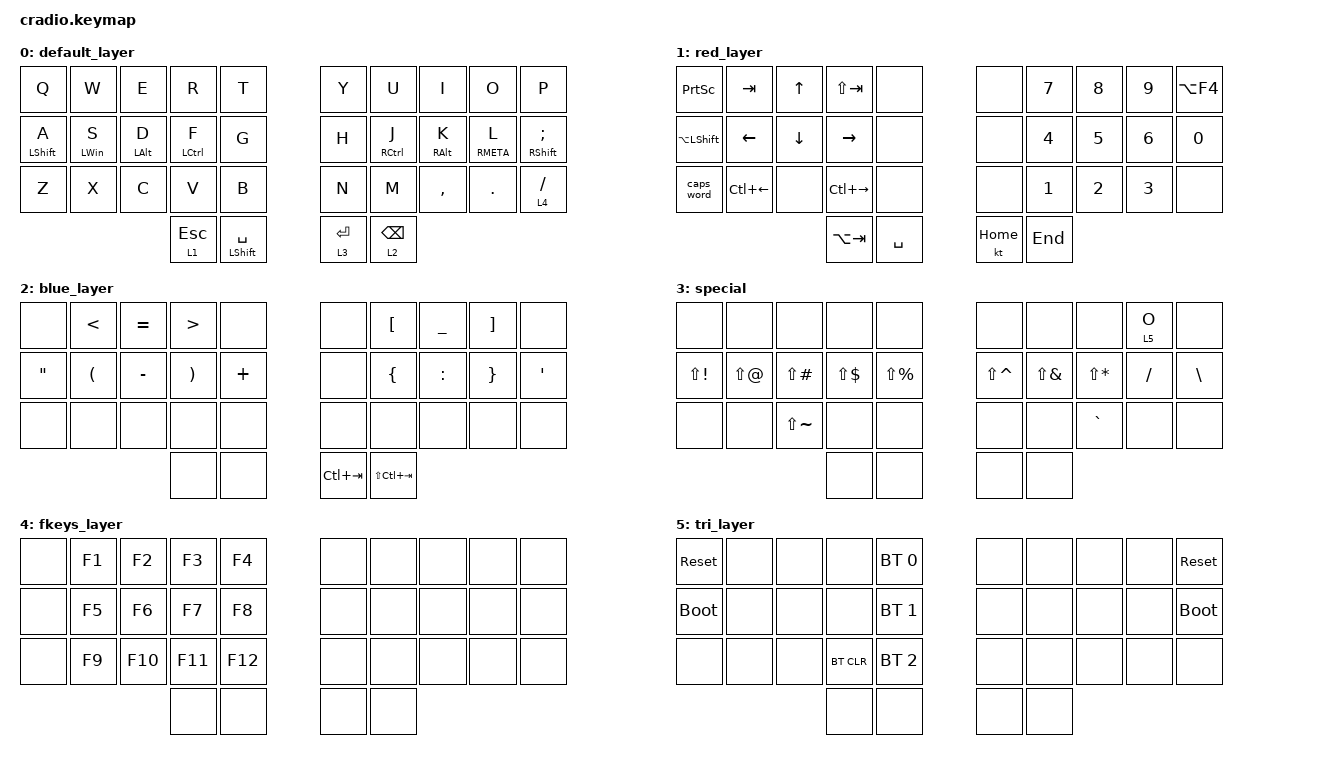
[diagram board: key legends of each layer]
// Copyright (c) 2022 The ZMK Contributors
// SPDX-License-Identifier: MIT

#include <behaviors.dtsi>
#include <dt-bindings/zmk/bt.h>
#include <dt-bindings/zmk/keys.h>

&lt {
    tapping-term-ms = <120>;
    quick-tap-ms = <160>;
    flavor = "balanced";
    require-prior-idle-ms = <80>;
};

/ {
    behaviors {
        hrm: hrm {
            compatible = "zmk,behavior-hold-tap";
            #binding-cells = <2>;
            flavor = "balanced";
            tapping-term-ms = <120>;
            quick-tap-ms = <160>;
            bindings = <&kp>, <&kp>;

            require-prior-idle-ms = <80>;
        };
    };

    conditional_layers { compatible = "zmk,conditional-layers"; };

    keymap {
        compatible = "zmk,keymap";

        default_layer {
            bindings = <
&kp Q          &kp W            &kp E            &kp R         &kp T                &kp Y        &kp U            &kp I             &kp O         &kp P
&hrm LSHIFT A  &hrm LEFT_WIN S  &hrm LEFT_ALT D  &hrm LCTRL F  &kp G                &kp H        &hrm RCTRL J     &hrm RIGHT_ALT K  &hrm RMETA L  &hrm RSHIFT SEMICOLON
&kp Z          &kp X            &kp C            &kp V         &kp B                &kp N        &kp M            &kp COMMA         &kp DOT       &lt 4 SLASH
                                                 &lt 1 ESCAPE  &hrm LSHIFT SPACE    &lt 3 ENTER  &lt 2 BACKSPACE
            >;
        };

        red_layer {
            bindings = <
&kp PRINTSCREEN  &kp TAB       &kp UP_ARROW  &kp LS(TAB)    &none        &none     &kp N7        &kp N8        &kp N9        &kp LA(F4)
&kp LA(LSHIFT)   &kp LEFT      &kp DOWN      &kp RIGHT      &none        &none     &kp NUMBER_4  &kp N5        &kp NUMBER_6  &kp NUMBER_0
&caps_word       &kp LC(LEFT)  &none         &kp LC(RIGHT)  &none        &none     &kp N1        &kp NUMBER_2  &kp NUMBER_3  &none
                                             &kp LA(TAB)    &kp SPACE    &kt HOME  &kp END
            >;
        };

        blue_layer {
            bindings = <
&none              &kp LESS_THAN         &kp EQUAL  &kp GREATER_THAN       &none       &none        &kp LEFT_BRACKET  &kp UNDERSCORE  &kp RBKT         &none
&kp DOUBLE_QUOTES  &kp LEFT_PARENTHESIS  &kp MINUS  &kp RIGHT_PARENTHESIS  &kp PLUS    &none        &kp LEFT_BRACE    &kp COLON       &kp RIGHT_BRACE  &kp SQT
&none              &none                 &none      &none                  &none       &none        &none             &none           &none            &none
                                                    &none                  &none       &kp LC(TAB)  &kp LS(LC(TAB))
            >;
        };

        special {
            bindings = <
&none         &none       &none          &none         &none            &none          &none         &none         &lt 5 O   &none
&kp LS(EXCL)  &kp LS(AT)  &kp LS(POUND)  &kp LS(DLLR)  &kp LS(PRCNT)    &kp LS(CARET)  &kp LS(AMPS)  &kp LS(STAR)  &kp FSLH  &kp BSLH
&none         &none       &kp LS(TILDE)  &none         &none            &none          &none         &kp GRAVE     &none     &none
                                         &none         &none            &none          &none
            >;
        };

        fkeys_layer {
            bindings = <
&none  &kp F1  &kp F2   &kp F3   &kp F4     &none  &none  &none  &none  &none
&none  &kp F5  &kp F6   &kp F7   &kp F8     &none  &none  &none  &none  &none
&none  &kp F9  &kp F10  &kp F11  &kp F12    &none  &none  &none  &none  &none
                        &none    &none      &none  &none
            >;
        };

        tri_layer {
            bindings = <
&sys_reset   &none  &none  &none       &bt BT_SEL 0    &none  &none  &none  &none  &sys_reset
&bootloader  &none  &none  &none       &bt BT_SEL 1    &none  &none  &none  &none  &bootloader
&none        &none  &none  &bt BT_CLR  &bt BT_SEL 2    &none  &none  &none  &none  &none
                           &none       &none           &none  &none
            >;
        };
    };
};
